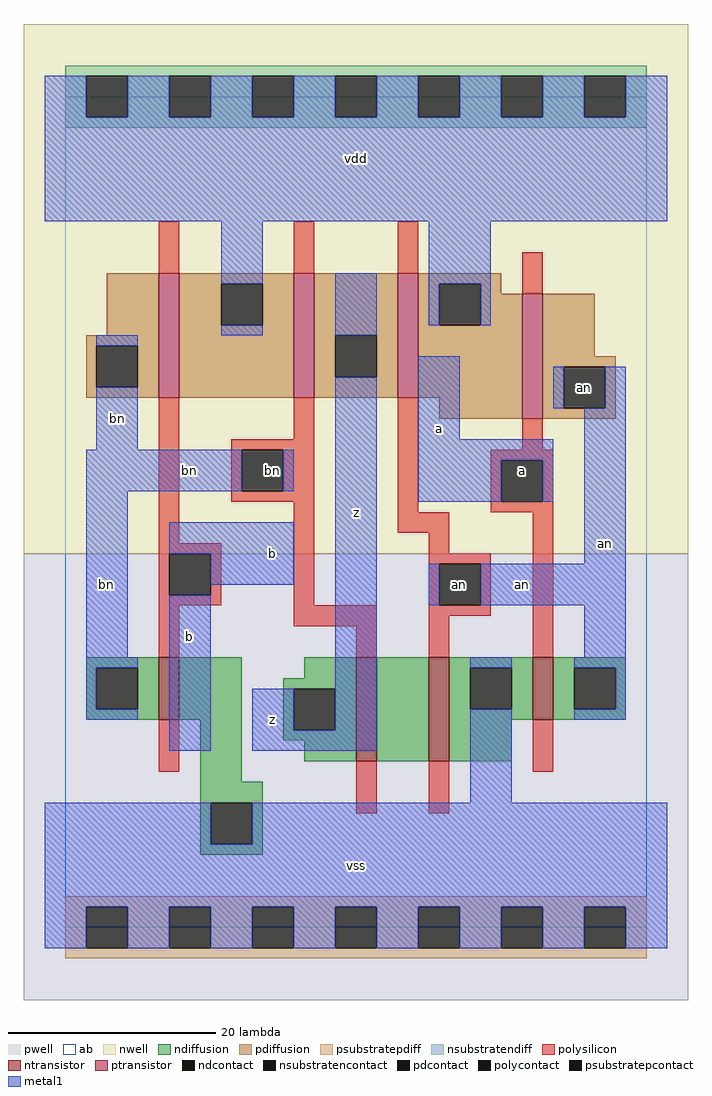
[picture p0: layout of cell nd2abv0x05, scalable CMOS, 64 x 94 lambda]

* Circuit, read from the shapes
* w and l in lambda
.subckt nd2abv0x05 a an b bn vdd vss z
M1 vss b bn vss nfet w=6 l=2
M2 n1 bn z vss nfet w=10 l=2
M3 vss an n1 vss nfet w=10 l=2
M4 an a vss vss nfet w=6 l=2
M5 vdd b bn vdd pfet w=12 l=2
M6 z bn vdd vdd pfet w=12 l=2
M7 vdd an z vdd pfet w=12 l=2
M8 an a vdd vdd pfet w=12 l=2
.ends

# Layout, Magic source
magic
tech scmos
<< ab >>
rect 0 0 56 80
<< pwell >>
rect -4 -7 60 36
<< nwell >>
rect -4 36 60 87
<< polysilicon >>
rect 9 63 11 68
rect 22 63 24 68
rect 32 63 34 68
rect 44 61 46 65
rect 9 37 11 51
rect 22 47 24 51
rect 16 46 24 47
rect 16 42 17 46
rect 21 42 24 46
rect 16 41 24 42
rect 9 36 15 37
rect 9 32 10 36
rect 14 32 15 36
rect 9 31 15 32
rect 22 31 24 41
rect 32 40 34 51
rect 44 46 46 49
rect 41 45 47 46
rect 41 41 42 45
rect 46 41 47 45
rect 41 40 47 41
rect 32 38 37 40
rect 35 36 37 38
rect 35 35 41 36
rect 35 31 36 35
rect 40 31 41 35
rect 9 26 11 31
rect 22 29 30 31
rect 28 26 30 29
rect 35 30 41 31
rect 35 26 37 30
rect 45 26 47 40
rect 9 15 11 20
rect 28 11 30 16
rect 35 11 37 16
rect 45 15 47 20
<< ndiffusion >>
rect 2 25 9 26
rect 2 21 3 25
rect 7 21 9 25
rect 2 20 9 21
rect 11 20 17 26
rect 23 24 28 26
rect 13 14 17 20
rect 21 23 28 24
rect 21 19 22 23
rect 26 19 28 23
rect 21 18 28 19
rect 23 16 28 18
rect 30 16 35 26
rect 37 25 45 26
rect 37 21 39 25
rect 43 21 45 25
rect 37 20 45 21
rect 47 25 54 26
rect 47 21 49 25
rect 53 21 54 25
rect 47 20 54 21
rect 37 16 43 20
rect 13 12 19 14
rect 13 8 14 12
rect 18 8 19 12
rect 13 7 19 8
<< pdiffusion >>
rect 4 57 9 63
rect 2 56 9 57
rect 2 52 3 56
rect 7 52 9 56
rect 2 51 9 52
rect 11 62 22 63
rect 11 58 15 62
rect 19 58 22 62
rect 11 51 22 58
rect 24 57 32 63
rect 24 53 26 57
rect 30 53 32 57
rect 24 51 32 53
rect 34 62 42 63
rect 34 58 36 62
rect 40 61 42 62
rect 40 58 44 61
rect 34 51 44 58
rect 36 49 44 51
rect 46 55 51 61
rect 46 54 53 55
rect 46 50 48 54
rect 52 50 53 54
rect 46 49 53 50
<< metal1 >>
rect -2 78 2 82
rect 6 78 10 82
rect 14 78 18 82
rect 22 78 26 82
rect 30 78 34 82
rect 38 78 42 82
rect 46 78 50 82
rect 54 78 58 82
rect -2 68 58 78
rect 15 62 19 68
rect 15 57 19 58
rect 26 57 30 63
rect 35 62 41 68
rect 35 58 36 62
rect 40 58 41 62
rect 3 56 7 57
rect 3 46 7 52
rect 2 42 17 46
rect 21 42 22 46
rect 2 26 6 42
rect 10 36 22 39
rect 14 33 22 36
rect 2 25 7 26
rect 2 21 3 25
rect 2 20 7 21
rect 10 17 14 32
rect 18 19 22 23
rect 26 19 30 53
rect 34 47 38 55
rect 47 50 48 54
rect 52 50 54 54
rect 34 45 47 47
rect 34 41 42 45
rect 46 41 47 45
rect 50 35 54 50
rect 35 31 36 35
rect 40 31 54 35
rect 50 26 54 31
rect 18 17 30 19
rect 39 25 43 26
rect 39 12 43 21
rect 49 25 54 26
rect 53 21 54 25
rect 49 20 54 21
rect -2 8 14 12
rect 18 8 58 12
rect -2 2 58 8
rect -2 -2 2 2
rect 6 -2 10 2
rect 14 -2 18 2
rect 22 -2 26 2
rect 30 -2 34 2
rect 38 -2 42 2
rect 46 -2 50 2
rect 54 -2 58 2
<< ntransistor >>
rect 9 20 11 26
rect 28 16 30 26
rect 35 16 37 26
rect 45 20 47 26
<< ptransistor >>
rect 9 51 11 63
rect 22 51 24 63
rect 32 51 34 63
rect 44 49 46 61
<< polycontact >>
rect 17 42 21 46
rect 10 32 14 36
rect 42 41 46 45
rect 36 31 40 35
<< ndcontact >>
rect 3 21 7 25
rect 22 19 26 23
rect 39 21 43 25
rect 49 21 53 25
rect 14 8 18 12
<< pdcontact >>
rect 3 52 7 56
rect 15 58 19 62
rect 26 53 30 57
rect 36 58 40 62
rect 48 50 52 54
<< psubstratepcontact >>
rect 2 -2 6 2
rect 10 -2 14 2
rect 18 -2 22 2
rect 26 -2 30 2
rect 34 -2 38 2
rect 42 -2 46 2
rect 50 -2 54 2
<< nsubstratencontact >>
rect 2 78 6 82
rect 10 78 14 82
rect 18 78 22 82
rect 26 78 30 82
rect 34 78 38 82
rect 42 78 46 82
rect 50 78 54 82
<< psubstratepdiff >>
rect 0 2 56 3
rect 0 -2 2 2
rect 6 -2 10 2
rect 14 -2 18 2
rect 22 -2 26 2
rect 30 -2 34 2
rect 38 -2 42 2
rect 46 -2 50 2
rect 54 -2 56 2
rect 0 -3 56 -2
<< nsubstratendiff >>
rect 0 82 56 83
rect 0 78 2 82
rect 6 78 10 82
rect 14 78 18 82
rect 22 78 26 82
rect 30 78 34 82
rect 38 78 42 82
rect 46 78 50 82
rect 54 78 56 82
rect 0 77 56 78
<< labels >>
rlabel polycontact 20 44 20 44 6 bn
rlabel polycontact 38 33 38 33 6 an
rlabel metal1 5 49 5 49 6 bn
rlabel metal1 4 33 4 33 6 bn
rlabel metal1 20 20 20 20 6 z
rlabel metal1 12 28 12 28 6 b
rlabel metal1 20 36 20 36 6 b
rlabel metal1 12 44 12 44 6 bn
rlabel metal1 28 6 28 6 6 vss
rlabel metal1 28 40 28 40 6 z
rlabel metal1 36 48 36 48 6 a
rlabel metal1 28 74 28 74 6 vdd
rlabel metal1 44 33 44 33 6 an
rlabel polycontact 44 44 44 44 6 a
rlabel metal1 52 37 52 37 6 an
rlabel pdcontact 50 52 50 52 6 an
<< end >>
